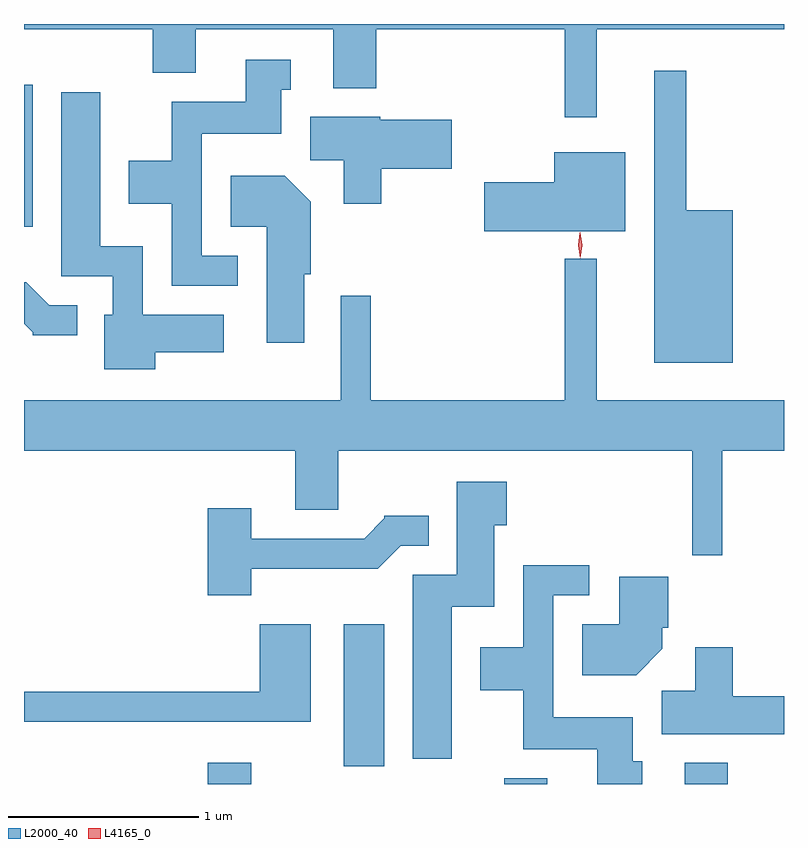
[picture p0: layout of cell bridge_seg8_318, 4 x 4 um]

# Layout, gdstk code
import gdstk
lib = gdstk.Library(unit=1e-6, precision=1e-09)
def R(c, l, rs):  # rectangles x0, y0, x1, y1
    for r in rs: c.add(gdstk.rectangle(r[:2], r[2:], *l))
def P(c, l, *ps):  # polygons
    for p in ps: c.add(gdstk.Polygon(p, *l))
L2000_40 = (2000, 40)
L4165_0 = (4165, 0)

bridge_seg8_318 = lib.new_cell('bridge_seg8_318')
R(bridge_seg8_318, L2000_40, [(991.211,1939.003,991.439,1939.114), (992.771,1939.003,992.999,1939.034), (993.721,1939.003,993.949,1939.114), (991.926,1939.096,992.139,1939.844), (990.244,1941.936,990.289,1942.684)])
P(bridge_seg8_318, L2000_40, [(993.259,1942.976),(994.244,1942.976),(994.244,1943.003),(990.244,1943.003),(990.244,1942.976),(990.921,1942.976),(990.921,1942.746),(991.149,1942.746),(991.149,1942.976),(991.871,1942.976),(991.871,1942.666),(992.099,1942.666),(992.099,1942.976),(993.091,1942.976),(993.091,1942.513),(993.259,1942.513)],
  [(991.368,1941.784),(991.179,1941.784),(991.179,1942.426),(991.599,1942.426),(991.599,1942.656),(991.648,1942.656),(991.648,1942.814),(991.411,1942.814),(991.411,1942.594),(991.021,1942.594),(991.021,1942.284),(990.796,1942.284),(990.796,1942.056),(991.021,1942.056),(991.021,1941.626),(991.368,1941.626)],
  [(993.974,1942.024),(993.729,1942.024),(993.729,1942.758),(993.561,1942.758),(993.561,1941.221),(993.974,1941.221)],
  [(990.934,1941.276),(991.294,1941.276),(991.294,1941.474),(990.869,1941.474),(990.869,1941.834),(990.644,1941.834),(990.644,1942.644),(990.441,1942.644),(990.441,1941.676),(990.711,1941.676),(990.711,1941.474),(990.666,1941.474),(990.666,1941.186),(990.934,1941.186)],
  [(992.124,1942.241),(992.494,1942.241),(992.494,1942.499),(992.12,1942.499),(992.12,1942.514),(991.751,1942.514),(991.751,1942.286),(991.926,1942.286),(991.926,1942.056),(992.124,1942.056)],
  [(993.409,1942.329),(993.036,1942.329),(993.036,1942.169),(992.666,1942.169),(992.666,1941.911),(993.409,1941.911)],
  [(991.719,1941.686),(991.754,1941.686),(991.754,1942.067),(991.617,1942.204),(991.331,1942.204),(991.331,1941.936),(991.521,1941.936),(991.521,1941.326),(991.719,1941.326)],
  [(993.919,1940.756),(994.244,1940.756),(994.244,1941.024),(993.259,1941.024),(993.259,1941.768),(993.091,1941.768),(993.091,1941.024),(992.069,1941.024),(992.069,1941.573),(991.911,1941.573),(991.911,1941.024),(990.244,1941.024),(990.244,1940.756),(991.671,1940.756),(991.671,1940.446),(991.899,1940.446),(991.899,1940.756),(993.761,1940.756),(993.761,1940.208),(993.919,1940.208)],
  [(990.523,1941.524),(990.377,1941.524),(990.257,1941.644),(990.244,1941.644),(990.244,1941.426),(990.29,1941.38),(990.29,1941.366),(990.523,1941.366)],
  [(992.494,1939.936),(992.719,1939.936),(992.719,1940.366),(992.784,1940.366),(992.784,1940.594),(992.521,1940.594),(992.521,1940.104),(992.291,1940.104),(992.291,1939.136),(992.494,1939.136)],
  [(991.439,1940.136),(992.107,1940.136),(992.227,1940.256),(992.373,1940.256),(992.373,1940.414),(992.14,1940.414),(992.14,1940.401),(992.034,1940.294),(991.439,1940.294),(991.439,1940.454),(991.211,1940.454),(991.211,1939.996),(991.439,1939.996)],
  [(993.498,1939.124),(993.449,1939.124),(993.449,1939.354),(993.029,1939.354),(993.029,1939.996),(993.218,1939.996),(993.218,1940.154),(992.871,1940.154),(992.871,1939.724),(992.646,1939.724),(992.646,1939.496),(992.871,1939.496),(992.871,1939.186),(993.261,1939.186),(993.261,1939.003),(993.498,1939.003)],
  [(993.604,1939.714),(993.604,1939.826),(993.634,1939.826),(993.634,1940.094),(993.376,1940.094),(993.376,1939.844),(993.181,1939.844),(993.181,1939.576),(993.467,1939.576)],
  [(991.754,1939.844),(991.486,1939.844),(991.486,1939.489),(990.244,1939.489),(990.244,1939.331),(991.754,1939.331)],
  [(994.244,1939.464),(993.974,1939.464),(993.974,1939.724),(993.776,1939.724),(993.776,1939.494),(993.601,1939.494),(993.601,1939.266),(994.244,1939.266)])
P(bridge_seg8_318, L4165_0, [(993.171,1941.77),(993.161,1941.838),(993.17,1941.905),(993.171,1941.906),(993.171,1941.905),(993.181,1941.838),(993.172,1941.77),(993.172,1941.77)],
  [(993.172,1941.773),(993.171,1941.774),(993.162,1941.837),(993.171,1941.899),(993.172,1941.9),(993.172,1941.899),(993.182,1941.837),(993.172,1941.774)])

lib.write_gds('bridge_seg8_318.gds')
